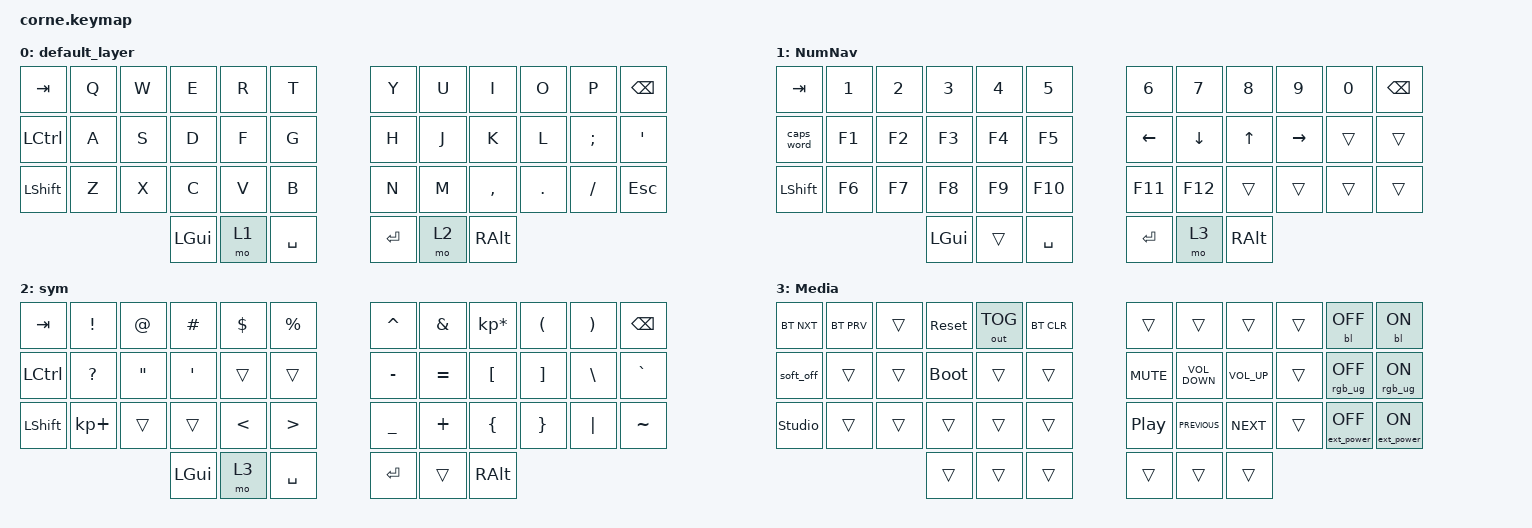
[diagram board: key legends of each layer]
/*
 * Copyright (c) 2020 The ZMK Contributors
 *
 * SPDX-License-Identifier: MIT
 */

#include <behaviors.dtsi>
#include <dt-bindings/zmk/backlight.h>
#include <dt-bindings/zmk/bt.h>
#include <dt-bindings/zmk/ext_power.h>
#include <dt-bindings/zmk/keys.h>
#include <dt-bindings/zmk/outputs.h>
#include <dt-bindings/zmk/rgb.h>

&led_strip { chain-length = <27>; };

/ {
    combos {
        compatible = "zmk,combos";

        question {
            bindings = <&kp LS(QUESTION)>;
            key-positions = <6 18>;
        };

        combo_aa {
            bindings = <&none>;
            key-positions = <8 20>;
        };
    };

    keymap {
        compatible = "zmk,keymap";

        default_layer {
            // -----------------------------------------------------------------------------------------
            // |  TAB |  Q  |  W  |  E  |  R  |  T  |   |  Y  |  U   |  I  |  O  |  P  | BKSP |
            // | CTRL |  A  |  S  |  D  |  F  |  G  |   |  H  |  J   |  K  |  L  |  ;  |  '   |
            // | SHFT |  Z  |  X  |  C  |  V  |  B  |   |  N  |  M   |  ,  |  .  |  /  | ESC  |
            //                    | GUI | LWR | SPC |   | ENT | RSE  | ALT |

            bindings = <
&kp TAB    &kp Q  &kp W  &kp E     &kp R  &kp T        &kp Y    &kp U  &kp I      &kp O    &kp P     &kp BSPC
&kp LCTRL  &kp A  &kp S  &kp D     &kp F  &kp G        &kp H    &kp J  &kp K      &kp L    &kp SEMI  &kp SQT
&kp LSHFT  &kp Z  &kp X  &kp C     &kp V  &kp B        &kp N    &kp M  &kp COMMA  &kp DOT  &kp FSLH  &kp ESC
                         &kp LGUI  &mo 1  &kp SPACE    &kp RET  &mo 2  &kp RALT
            >;
        };

        NumNav {
            // -----------------------------------------------------------------------------------------
            // |  TAB |  1  |  2  |  3  |  4  |  5  |   |  6  |  7  |  8  |  9  |  0  | BKSP |
            // | BTCLR| BT1 | BT2 | BT3 | BT4 | BT5 |   | LFT | DWN |  UP | RGT |     |      |
            // | SHFT |     |     |     |     |     |   |     |     |     |     |     |      |
            //                    | GUI |     | SPC |   | ENT |     | ALT |

            bindings = <
&kp TAB     &kp N1  &kp N2  &kp N3    &kp N4  &kp N5       &kp N6    &kp N7    &kp N8    &kp N9     &kp N0  &kp BSPC
&caps_word  &kp F1  &kp F2  &kp F3    &kp F4  &kp F5       &kp LEFT  &kp DOWN  &kp UP    &kp RIGHT  &trans  &trans
&kp LSHFT   &kp F6  &kp F7  &kp F8    &kp F9  &kp F10      &kp F11   &kp F12   &trans    &trans     &trans  &trans
                            &kp LGUI  &trans  &kp SPACE    &kp RET   &mo 3     &kp RALT
            >;
        };

        sym {
            // -----------------------------------------------------------------------------------------
            // |  TAB |  !  |  @  |  #  |  $  |  %  |   |  ^  |  &  |  *  |  (  |  )  | BKSP |
            // | CTRL |     |     |     |     |     |   |  -  |  =  |  [  |  ]  |  \  |  `   |
            // | SHFT |     |     |     |     |     |   |  _  |  +  |  {  |  }  | "|" |  ~   |
            //                    | GUI |     | SPC |   | ENT |     | ALT |

            bindings = <
&kp TAB    &kp EXCL      &kp AT             &kp HASH          &kp DLLR  &kp PRCNT    &kp CARET  &kp AMPS   &kp KP_MULTIPLY  &kp LPAR  &kp RPAR  &kp BSPC
&kp LCTRL  &kp QUESTION  &kp DOUBLE_QUOTES  &kp SINGLE_QUOTE  &trans    &trans       &kp MINUS  &kp EQUAL  &kp LBKT         &kp RBKT  &kp BSLH  &kp GRAVE
&kp LSHFT  &kp KP_PLUS   &trans             &trans            &kp LT    &kp GT       &kp UNDER  &kp PLUS   &kp LBRC         &kp RBRC  &kp PIPE  &kp TILDE
                                            &kp LGUI          &mo 3     &kp SPACE    &kp RET    &trans     &kp RALT
            >;
        };

        Media {
            bindings = <
&bt BT_NXT      &bt BT_PRV  &trans  &sys_reset   &out OUT_TOG  &bt BT_CLR    &trans            &trans             &trans           &trans  &bl BL_OFF         &bl BL_ON
&soft_off       &trans      &trans  &bootloader  &trans        &trans        &kp C_MUTE        &kp C_VOLUME_DOWN  &kp C_VOLUME_UP  &trans  &rgb_ug RGB_OFF    &rgb_ug RGB_ON
&studio_unlock  &trans      &trans  &trans       &trans        &trans        &kp C_PLAY_PAUSE  &kp C_PREVIOUS     &kp C_NEXT       &trans  &ext_power EP_OFF  &ext_power EP_ON
                                    &trans       &trans        &trans        &trans            &trans             &trans
            >;
        };
    };
};
